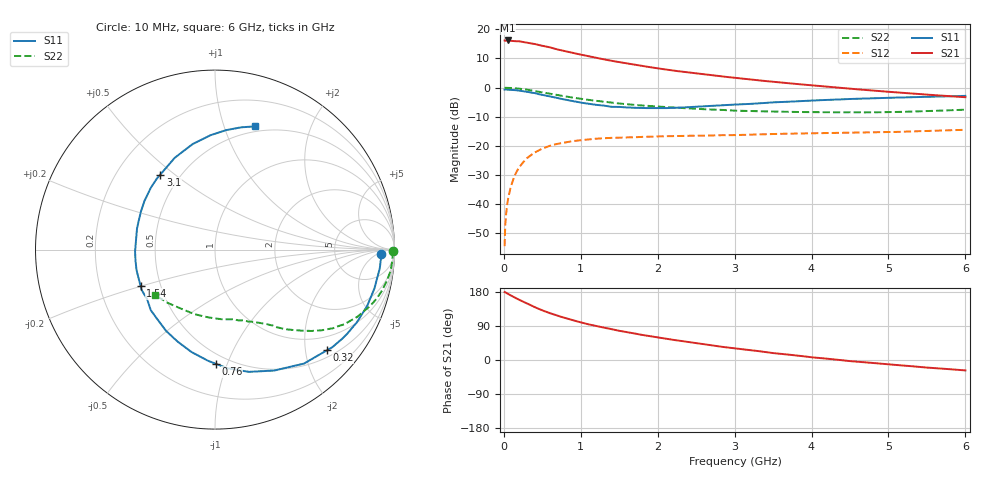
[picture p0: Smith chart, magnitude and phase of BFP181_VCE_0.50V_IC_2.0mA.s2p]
! Infineon Technologies  Discrete & RF Semiconductors
! BFP181
! VCE = 0.50V,  IC =  2.0 mA
! Common Emitter S-Parameters:  Jan 2016
# GHz  S  MA  R  50
!  f  S11  S21  S12  S22
! GHz  MAG  ANG  MAG  ANG  MAG  ANG  MAG  ANG
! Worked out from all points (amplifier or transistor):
!   210 points, 10 MHz to 6 GHz, reference 50 ohm
!   highest |S21| = 16.2 dB at 50 MHz (marker M1)
!   |S21| within 3 dB of that: start of sweep to 685.4 MHz
!   unconditionally stable (mu >= 1): 2.014 GHz to end of sweep
!   at 185 MHz: K = 0.13, MSG = 21.9 dB, |S12| = -28.0 dB
!   at 1.52 GHz: K = 0.80, MSG = 12.9 dB, |S12| = -17.2 dB
!   at 6 GHz: K = 1.37, MAG = 2.0 dB, |S12| = -14.5 dB
!   S11 on the Smith chart (normalised r, x): 10 MHz: 22, -8; 320 MHz: 0.65, -2.46; 760 MHz: 0.43, -0.91; 1.54 GHz: 0.39, -0.20; 3.1 GHz: 0.39, +0.45; 6 GHz: 0.45, +1.27
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0.01  0.9239 -1.6  6.436 179.2  0.0019 89.2  0.992 -0.6
0.02  0.9263 -2.9  6.392 178.5  0.0046 85.3  0.9901 -1.4
0.05  0.9238 -6.5  6.445 174.7  0.0112 88.5  0.9898 -3.5
0.115  0.9099 -15.7  6.315 167.8  0.0249 79.4  0.9812 -8.0
0.2  0.8882 -27.1  6.233 158.7  0.043 72.9  0.9592 -13.6
0.24  0.8736 -32.3  6.097 154.6  0.0502 70.1  0.9446 -16.2
0.32  0.8385 -42.0  5.839 147.5  0.0644 64.3  0.9121 -20.8
0.4  0.8058 -52.0  5.607 139.4  0.0766 59.0  0.8776 -25.2
0.5  0.7504 -63.9  5.226 130.9  0.09 52.8  0.8336 -29.8
0.6  0.7069 -74.5  4.907 123.5  0.1004 47.7  0.7885 -33.8
0.76  0.6359 -89.6  4.338 113.1  0.1123 40.7  0.7212 -38.8
0.9  0.5853 -103.0  3.956 104.7  0.121 35.9  0.6724 -42.3
1.02  0.5475 -113.8  3.636 98.2  0.1261 32.1  0.6365 -44.9
1.3  0.4919 -136.7  3.055 85.4  0.1352 25.6  0.572 -49.9
1.54  0.4618 -154.0  2.68 75.7  0.1387 21.8  0.528 -53.1
1.8  0.4471 -172.4  2.35 66.1  0.1428 18.8  0.4948 -56.5
2.02  0.4429 174.1  2.122 59.0  0.1455 16.6  0.4727 -59.4
2.62  0.4791 144.3  1.674 41.1  0.1499 12.1  0.424 -68.3
3.1  0.5175 126.1  1.428 28.4  0.1545 9.4  0.399 -76.7
4.1  0.6073 99.9  1.066 5.4  0.1653 4.7  0.3778 -98.0
5.1  0.6736 83.2  0.829 -13.1  0.1737 1.3  0.3816 -122.1
6  0.7215 72.1  0.684 -27.5  0.1888 -1.9  0.4186 -142.8
